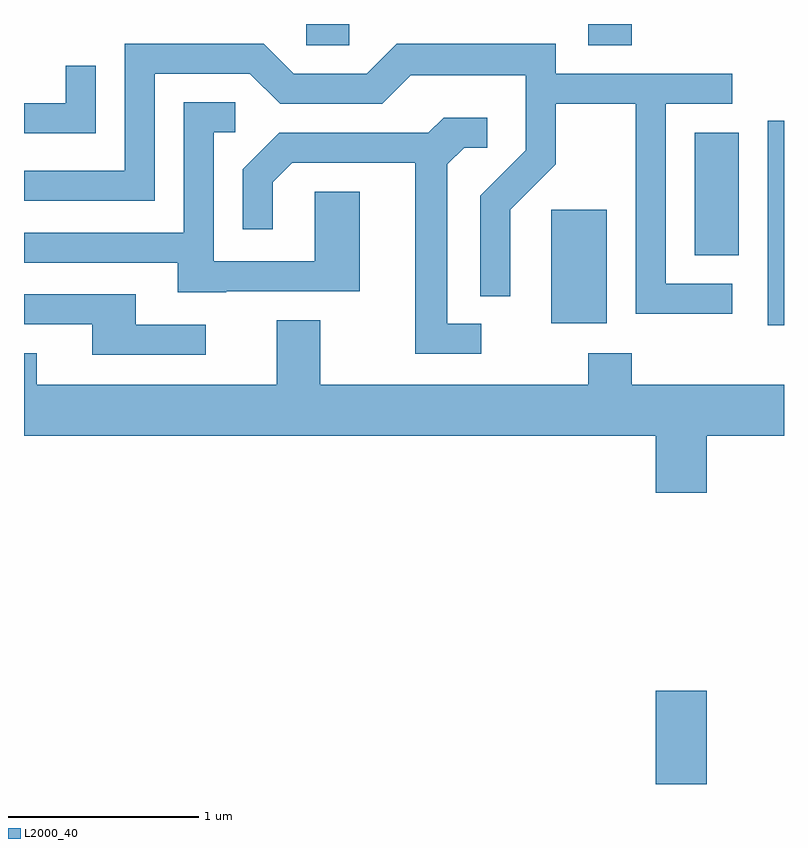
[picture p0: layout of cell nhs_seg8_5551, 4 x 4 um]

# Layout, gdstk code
import gdstk
lib = gdstk.Library(unit=1e-6, precision=1e-09)
def R(c, l, rs):  # rectangles x0, y0, x1, y1
    for r in rs: c.add(gdstk.rectangle(r[:2], r[2:], *l))
def P(c, l, *ps):  # polygons
    for p in ps: c.add(gdstk.Polygon(p, *l))
L2000_40 = (2000, 40)

nhs_seg8_5551 = lib.new_cell('nhs_seg8_5551')
R(nhs_seg8_5551, L2000_40, [(354.936,1852.342,355.204,1852.834), (355.526,1854.756,355.611,1855.834), (354.386,1854.766,354.679,1855.364), (355.141,1855.126,355.374,1855.769), (353.096,1856.231,353.324,1856.342), (354.581,1856.231,354.809,1856.342)])
P(nhs_seg8_5551, L2000_40, [(355.338,1854.974),(354.989,1854.974),(354.989,1855.921),(355.338,1855.921),(355.338,1856.079),(354.409,1856.079),(354.409,1856.239),(353.574,1856.239),(353.414,1856.079),(353.032,1856.079),(352.872,1856.239),(352.141,1856.239),(352.141,1855.569),(351.611,1855.569),(351.611,1855.411),(352.299,1855.411),(352.299,1856.081),(352.799,1856.081),(352.959,1855.921),(353.497,1855.921),(353.647,1856.071),(354.251,1856.071),(354.251,1855.677),(354.011,1855.437),(354.011,1854.908),(354.169,1854.908),(354.169,1855.364),(354.409,1855.604),(354.409,1855.921),(354.831,1855.921),(354.831,1854.816),(355.338,1854.816)],
  [(351.989,1856.123),(351.831,1856.123),(351.831,1855.924),(351.611,1855.924),(351.611,1855.766),(351.989,1855.766)],
  [(352.675,1854.936),(353.379,1854.936),(353.379,1855.459),(353.141,1855.459),(353.141,1855.094),(352.609,1855.094),(352.609,1855.771),(352.723,1855.771),(352.723,1855.929),(352.451,1855.929),(352.451,1855.244),(351.611,1855.244),(351.611,1855.086),(352.421,1855.086),(352.421,1854.931),(352.675,1854.931)],
  [(354.018,1854.764),(353.839,1854.764),(353.839,1855.604),(353.927,1855.691),(354.048,1855.691),(354.048,1855.849),(353.819,1855.849),(353.739,1855.769),(352.954,1855.769),(352.761,1855.577),(352.761,1855.263),(352.919,1855.263),(352.919,1855.509),(353.022,1855.611),(353.671,1855.611),(353.671,1854.606),(354.018,1854.606)],
  [(352.568,1854.759),(352.199,1854.759),(352.199,1854.919),(351.611,1854.919),(351.611,1854.761),(351.971,1854.761),(351.971,1854.601),(352.568,1854.601)],
  [(355.204,1854.176),(355.611,1854.176),(355.611,1854.444),(354.809,1854.444),(354.809,1854.609),(354.581,1854.609),(354.581,1854.444),(353.169,1854.444),(353.169,1854.784),(352.941,1854.784),(352.941,1854.444),(351.679,1854.444),(351.679,1854.609),(351.611,1854.609),(351.611,1854.176),(354.936,1854.176),(354.936,1853.876),(355.204,1853.876)])

lib.write_gds('nhs_seg8_5551.gds')
